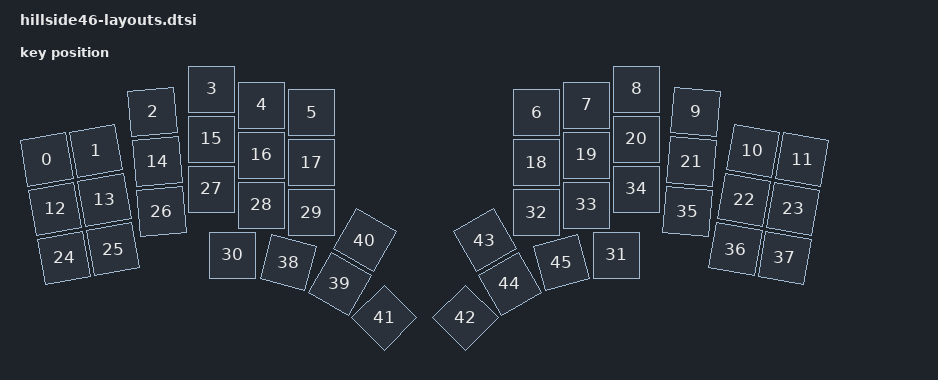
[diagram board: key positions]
/*
 * Copyright (c) 2021-2022 The ZMK Contributors
 *
 * SPDX-License-Identifier: MIT
 */

/* Physical key positions, derived from the upstream Hillside KLE source
 * (github.com/mmccoyd/hillside/wiki/hill_46/keyboard-layout-editor.json),
 * re-ordered to match the key-position numbering in default_transform
 * (see hillside46.dtsi) and documented in
 * urob/zmk-helpers include/zmk-helpers/key-labels/hillside46.h.
 */

#include <physical_layouts.dtsi>

/ {
    hillside46_layout: hillside46_layout {
        compatible = "zmk,physical-layout";
        display-name = "Hillside 46";

        keys  //                     w   h    x    y     rot    rx    ry
            = <&key_physical_attrs 100 100     0   112 (-1000)   200   350>
            , <&key_physical_attrs 100 100   100   112 (-1000)   200   350>
            , <&key_physical_attrs 100 100   200    41  (-500)   300   300>
            , <&key_physical_attrs 100 100   300     0       0     0     0>
            , <&key_physical_attrs 100 100   400    32       0     0     0>
            , <&key_physical_attrs 100 100   500    47       0     0     0>
            , <&key_physical_attrs 100 100   950    47       0     0     0>
            , <&key_physical_attrs 100 100  1050    32       0     0     0>
            , <&key_physical_attrs 100 100  1150     0       0     0     0>
            , <&key_physical_attrs 100 100  1250    41     500  1250   300>
            , <&key_physical_attrs 100 100  1350   112    1000  1350   350>
            , <&key_physical_attrs 100 100  1450   112    1000  1350   350>
            , <&key_physical_attrs 100 100     0   212 (-1000)   200   350>
            , <&key_physical_attrs 100 100   100   212 (-1000)   200   350>
            , <&key_physical_attrs 100 100   200   141  (-500)   300   300>
            , <&key_physical_attrs 100 100   300   100       0     0     0>
            , <&key_physical_attrs 100 100   400   132       0     0     0>
            , <&key_physical_attrs 100 100   500   147       0     0     0>
            , <&key_physical_attrs 100 100   950   147       0     0     0>
            , <&key_physical_attrs 100 100  1050   132       0     0     0>
            , <&key_physical_attrs 100 100  1150   100       0     0     0>
            , <&key_physical_attrs 100 100  1250   141     500  1250   300>
            , <&key_physical_attrs 100 100  1350   212    1000  1350   350>
            , <&key_physical_attrs 100 100  1450   212    1000  1350   350>
            , <&key_physical_attrs 100 100     0   312 (-1000)   200   350>
            , <&key_physical_attrs 100 100   100   312 (-1000)   200   350>
            , <&key_physical_attrs 100 100   200   241  (-500)   300   300>
            , <&key_physical_attrs 100 100   300   200       0     0     0>
            , <&key_physical_attrs 100 100   400   232       0     0     0>
            , <&key_physical_attrs 100 100   500   247       0     0     0>
            , <&key_physical_attrs 100 100   342   332       0     0     0>
            , <&key_physical_attrs 100 100  1110   332       0     0     0>
            , <&key_physical_attrs 100 100   950   247       0     0     0>
            , <&key_physical_attrs 100 100  1050   232       0     0     0>
            , <&key_physical_attrs 100 100  1150   200       0     0     0>
            , <&key_physical_attrs 100 100  1250   241     500  1250   300>
            , <&key_physical_attrs 100 100  1350   312    1000  1350   350>
            , <&key_physical_attrs 100 100  1450   312    1000  1350   350>
            , <&key_physical_attrs 100 100   342   332    1500   392   810>
            , <&key_physical_attrs 100 100   342   332    3000   392   810>
            , <&key_physical_attrs 100 100   342   232    3000   392   810>
            , <&key_physical_attrs 100 100   342   332    4500   392   810>
            , <&key_physical_attrs 100 100  1110   332 (-4500)  1160   810>
            , <&key_physical_attrs 100 100  1110   232 (-3000)  1160   810>
            , <&key_physical_attrs 100 100  1110   332 (-3000)  1160   810>
            , <&key_physical_attrs 100 100  1110   332 (-1500)  1160   810>
            ;
    };
};
